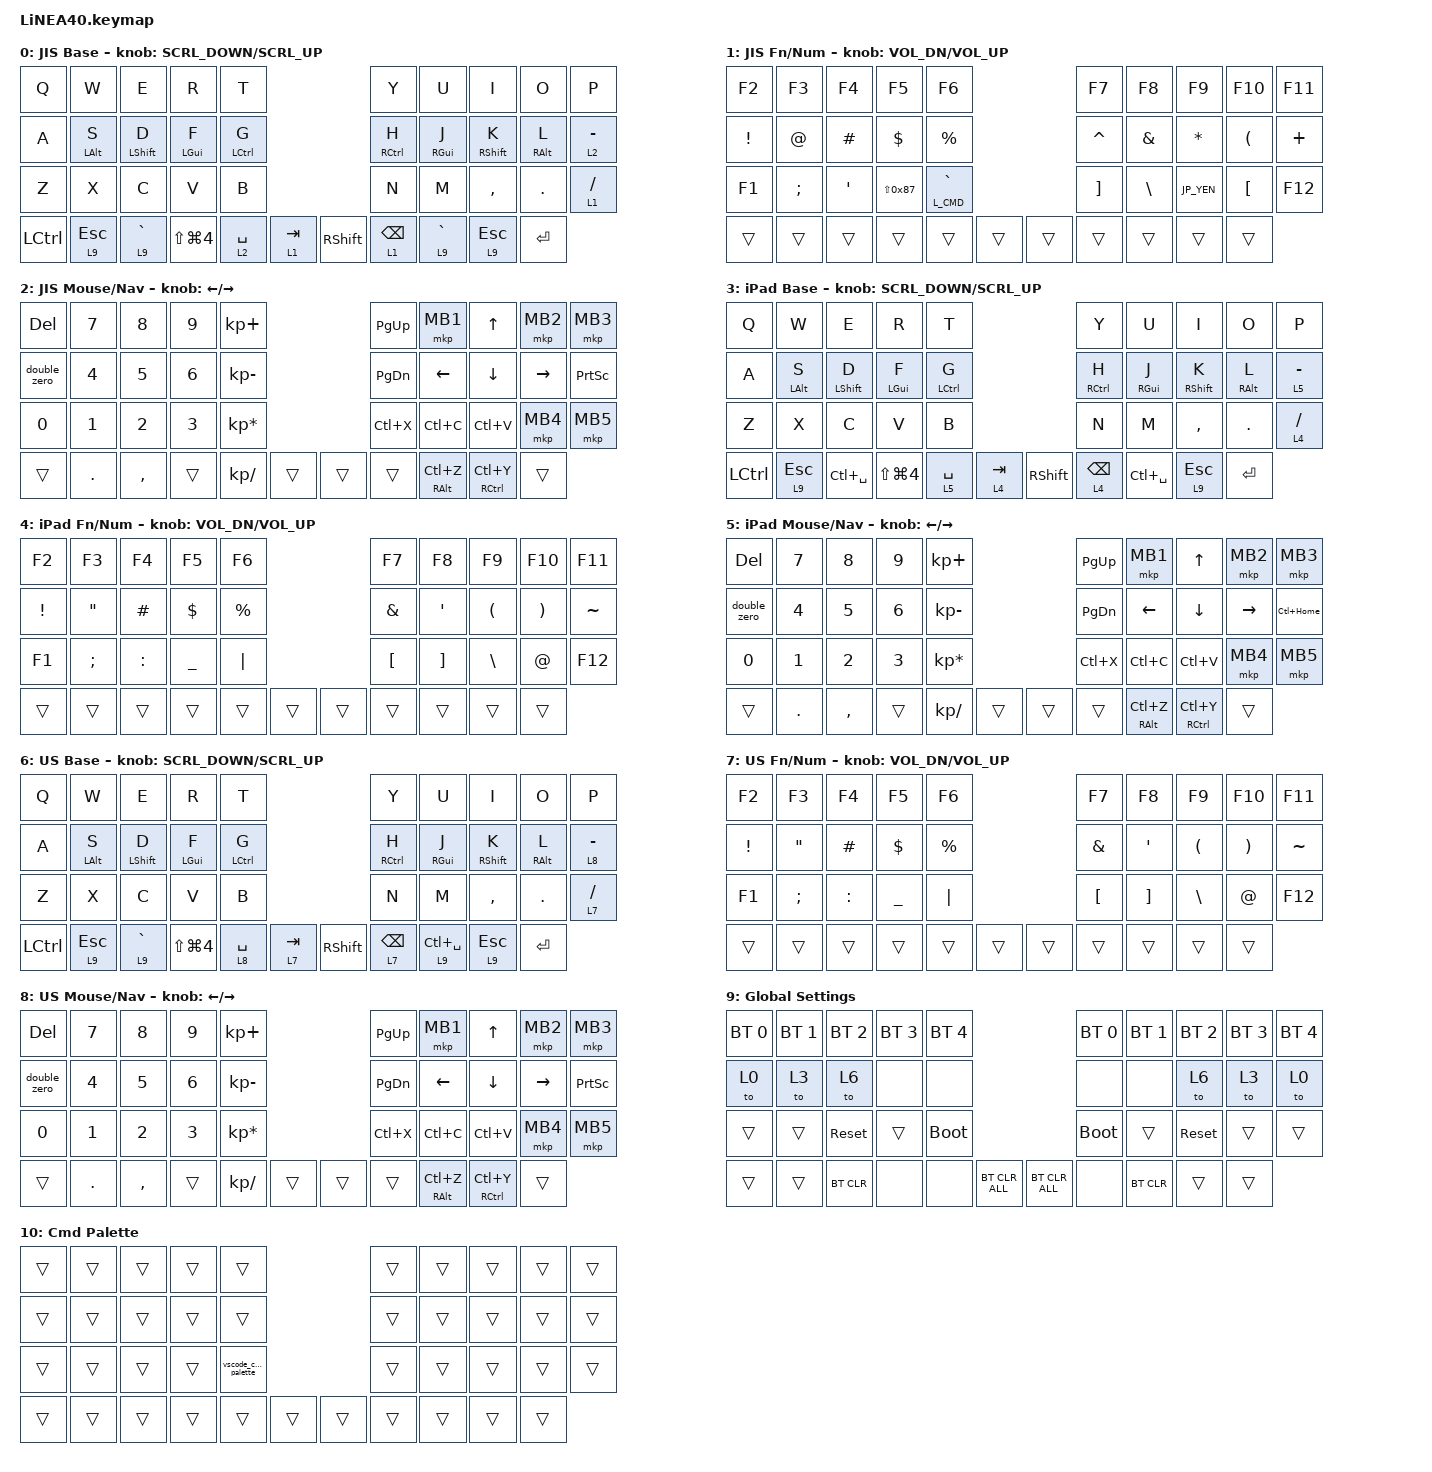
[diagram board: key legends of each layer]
// LisM配列をLiNEA40に移植、トラックボール/エンコーダ/コンボ設定はLiNEA仕様を維持

#define ZMK_POINTING_DEFAULT_SCRL_VAL 100

#include <dt-bindings/zmk/mouse.h>
#include <behaviors.dtsi>
#include <dt-bindings/zmk/bt.h>
#include <dt-bindings/zmk/keys.h>
#include <dt-bindings/zmk/input_transform.h>
#include <input/processors.dtsi>
#include <zephyr/dt-bindings/input/input-event-codes.h>
#include <dt-bindings/zmk/pointing.h>

// レイヤー番号（0-2 JIS / 3-5 iPad / 6-8 US）
#define L_JIS_BASE 0
#define L_JIS_FN 1
#define L_JIS_MOUSE 2
#define L_IPAD_BASE 3
#define L_IPAD_FN 4
#define L_IPAD_MOUSE 5
#define L_US_BASE 6
#define L_US_FN 7
#define L_US_MOUSE 8
#define L_GLOBAL 9
#define L_CMD 10

// JIS配列用キーコード定義
#define JP_DQUOTE       AT
#define JP_AMPERSAND    CARET
#define JP_QUOTE        AMPERSAND
#define JP_EQUAL        UNDERSCORE
#define JP_CARET        EQUAL
#define JP_YEN          0x89
#define JP_PLUS         COLON
#define JP_TILDE        PLUS
#define JP_PIPE         LS(0x89)
#define JP_AT           LEFT_BRACKET
#define JP_COLON        SINGLE_QUOTE
#define JP_ASTERISK     DOUBLE_QUOTES
#define JP_BACKQUOTE    LEFT_BRACE
#define JP_UNDERSCORE   LS(0x87)
#define JP_LBRACKET     RIGHT_BRACKET
#define JP_RBRACKET     BSLH
#define JP_LPAREN       ASTERISK
#define JP_RPAREN       LEFT_PARENTHESIS
#define JP_LBRACE       RIGHT_BRACE
#define JP_RBRACE       PIPE
#define JP_KANA         LANGUAGE_1
#define JP_EISU         LANGUAGE_2
#define JP_HANZEN       GRAVE

// Mod-Tap/Layer-Tap の設定
&mt {
    tapping-term-ms = <300>;
    flavor = "balanced";
};

&lt { quick-tap-ms = <300>; };

// マウスカーソル
&mmv {
    delay-ms = <20>;
    trigger-period-ms = <5>;
    time-to-max-speed-ms = <100>;
    acceleration-exponent = <2>;
};

// マウススクロール
&msc {
    delay-ms = <3>;
    trigger-period-ms = <3>;
    time-to-max-speed-ms = <100>;
    acceleration-exponent = <0>;
};

/ {
    input_processors {
        zip_wheel_scaler: zip_wheel_scaler {
            compatible = "zmk,input-processor-scaler";
            #input-processor-cells = <2>;
            type = <INPUT_EV_REL>;
            codes = <INPUT_REL_WHEEL>;
            track-remainders;
        };
    };

    macros {
        emoji: emoji_macro {
            compatible = "zmk,behavior-macro";
            label = "EMOJI";
            #binding-cells = <0>;
            bindings =
                <&macro_press>,
                <&kp CAPSLOCK>,
                <&macro_tap>,
                <&kp E>,
                <&macro_release>,
                <&kp CAPSLOCK>;
        };

        double_zero: double_zero_macro {
            compatible = "zmk,behavior-macro";
            label = "DBL_0";
            #binding-cells = <0>;
            bindings =
                <&macro_press>,
                <&kp NUMBER_0>,
                <&macro_release>,
                <&kp NUMBER_0>,
                <&macro_press>,
                <&kp NUMBER_0>,
                <&macro_release>,
                <&kp NUMBER_0>;
        };

        vscode_cmd_palette: vscode_cmd_palette_macro {
            compatible = "zmk,behavior-macro";
            label = "VS_CODE_CMD_PALETTE";
            #binding-cells = <0>;
            bindings =
                <&macro_press &mo LCTRL>,
                <&macro_press &mo LSHIFT>,
                <&macro_tap &kp P>,
                <&macro_release &mo LSHIFT>,
                <&macro_release &mo LCTRL>;
        };
    };

    combos {
        compatible = "zmk,combos";

        ZenkakuHankaku {
            bindings = <&kp GRAVE>;
            key-positions = <11 12>;
        };

        DeleteKey {
            bindings = <&kp DEL>;
            key-positions = <7 8>;
        };

        InsertKey {
            bindings = <&kp INS>;
            key-positions = <6 7>;
        };

        CenterClick {
            bindings = <&mkp MB3>;
            key-positions = <17 16>;
        };

        RightClick {
            bindings = <&mkp MB2>;
            key-positions = <18 17>;
        };

        PrevClick {
            bindings = <&mkp MB4>;
            key-positions = <27 28>;
        };

        ClickNext {
            bindings = <&mkp MB5>;
            key-positions = <26 27>;
        };
    };
};

&msc_input_listener {
    speed_up {
        layers = <1 4 7>;
        // スクロールを1/2倍（細かく）にする
        input-processors = <&zip_wheel_scaler 1 2>;
    };
};

&trackball_listener {
    scroller {
        // すべてのレイヤーでスクロール変換を有効化（反転を確実に適用）
        layers = <1 4 7>;
        // スクロール時のみX方向を反転、Yは通常
        input-processors =
            <&zip_xy_transform (INPUT_TRANSFORM_X_INVERT | INPUT_TRANSFORM_Y_INVERT)>,
            <&zip_xy_to_scroll_mapper>;
    };
};

/ {
    behaviors {
        re_kp_beh: re_kp_beh {
            compatible = "zmk,behavior-sensor-rotate-var";
            #sensor-binding-cells = <2>;
            bindings = <&kp>, <&kp>;
        };

        mouse_scrl: mouse_wheel_scrl {
            compatible = "zmk,behavior-sensor-rotate-var";
            #sensor-binding-cells = <2>;
            bindings = <&msc>, <&msc>;
            tap-ms = <20>;
        };

        encoder_msc: encoder_msc_beh {
            compatible = "zmk,behavior-sensor-rotate-var";
            #sensor-binding-cells = <2>;
            bindings = <&msc>, <&msc>;
            tap-ms = <20>;
        };

        encoder_kp_beh: encoder_kp_beh {
            compatible = "zmk,behavior-sensor-rotate-var";
            #sensor-binding-cells = <2>;
            bindings = <&kp>, <&kp>;
        };
    };

    keymap {
        compatible = "zmk,keymap";

        // L0: JIS Base (default)
        default_layer {
            display-name = "JIS Base";
            bindings = <
&kp Q      &kp W       &kp E            &kp R           &kp T                                      &kp Y            &kp U           &kp I            &kp O       &kp P
&kp A      &mt LALT S  &mt LSHIFT D     &mt LGUI F      &mt LCTRL G                                &mt RCTRL H      &mt RGUI J      &mt RSHIFT K     &mt RALT L  &lt 2 MINUS
&kp Z      &kp X       &kp C            &kp V           &kp B                                      &kp N            &kp M           &kp COMMA        &kp DOT     &lt 1 SLASH
&kp LCTRL  &lt 9 ESC   &lt 9 JP_HANZEN  &kp LS(LG(N4))  &lt 2 SPACE  &lt 1 TAB    &kp RIGHT_SHIFT  &lt 1 BACKSPACE                  &lt 9 JP_HANZEN  &lt 9 ESC   &kp ENTER
            >;
            sensor-bindings = <&encoder_msc SCRL_DOWN SCRL_UP>;
        };

        // L1: JIS Fn/Num
        layer_1 {
            display-name = "JIS Fn/Num";
            bindings = <
&kp F2    &kp F3         &kp F4        &kp F5             &kp F6                         &kp F7            &kp F8           &kp F9         &kp F10        &kp F11
&kp EXCL  &kp JP_DQUOTE  &kp HASH      &kp DOLLAR         &kp PERCENT                    &kp JP_AMPERSAND  &kp JP_QUOTE     &kp JP_LPAREN  &kp JP_RPAREN  &kp JP_TILDE
&kp F1    &kp SEMI       &kp JP_COLON  &kp JP_UNDERSCORE  &lt L_CMD GRAVE                &kp JP_LBRACKET   &kp JP_RBRACKET  &kp JP_YEN     &kp JP_AT      &kp F12
&trans    &trans         &trans        &trans             &trans     &trans      &trans  &trans                             &trans         &trans         &trans
            >;
            sensor-bindings = <&encoder_kp_beh C_VOL_DN C_VOL_UP>;
        };

        // L2: JIS Mouse/Nav
        layer_2 {
            display-name = "JIS Mouse/Nav";
            bindings = <
&kp DEL       &kp NUMBER_7  &kp NUMBER_8  &kp NUMBER_9  &kp KP_PLUS                        &kp PG_UP  &mkp MB1   &kp UP          &mkp MB2         &mkp MB3
&double_zero  &kp NUMBER_4  &kp NUMBER_5  &kp NUMBER_6  &kp KP_MINUS                       &kp PG_DN  &kp LEFT   &kp DOWN        &kp RIGHT        &kp PRINTSCREEN
&kp NUMBER_0  &kp NUMBER_1  &kp NUMBER_2  &kp NUMBER_3  &kp KP_MULTIPLY                    &kp LC(X)  &kp LC(C)  &kp LC(V)       &mkp MB4         &mkp MB5
&trans        &kp DOT       &kp COMMA     &trans        &kp KP_DIVIDE    &trans    &trans  &trans                &mt RALT LC(Z)  &mt RCTRL LC(Y)  &trans
            >;
            sensor-bindings = <&encoder_kp_beh LEFT_ARROW RIGHT_ARROW>;
        };

        // L3: iPad Base
        layer_3 {
            display-name = "iPad Base";
            bindings = <
&kp Q      &kp W       &kp E          &kp R           &kp T                                      &kp Y            &kp U       &kp I          &kp O       &kp P
&kp A      &mt LALT S  &mt LSHIFT D   &mt LGUI F      &mt LCTRL G                                &mt RCTRL H      &mt RGUI J  &mt RSHIFT K   &mt RALT L  &lt 5 MINUS
&kp Z      &kp X       &kp C          &kp V           &kp B                                      &kp N            &kp M       &kp COMMA      &kp DOT     &lt 4 SLASH
&kp LCTRL  &lt 9 ESC   &kp LC(SPACE)  &kp LS(LG(N4))  &lt 5 SPACE  &lt 4 TAB    &kp RIGHT_SHIFT  &lt 4 BACKSPACE              &kp LC(SPACE)  &lt 9 ESC   &kp ENTER
            >;
            sensor-bindings = <&encoder_msc SCRL_DOWN SCRL_UP>;
        };

        // L4: iPad Fn/Num
        layer_4 {
            display-name = "iPad Fn/Num";
            bindings = <
&kp F2    &kp F3             &kp F4     &kp F5          &kp F6                         &kp F7            &kp F8             &kp F9                &kp F10                &kp F11
&kp EXCL  &kp DOUBLE_QUOTES  &kp HASH   &kp DOLLAR      &kp PERCENT                    &kp AMPERSAND     &kp SINGLE_QUOTE   &kp LEFT_PARENTHESIS  &kp RIGHT_PARENTHESIS  &kp TILDE
&kp F1    &kp SEMI           &kp COLON  &kp UNDERSCORE  &kp PIPE                       &kp LEFT_BRACKET  &kp RIGHT_BRACKET  &kp BSLH              &kp AT_SIGN            &kp F12
&trans    &trans             &trans     &trans          &trans       &trans    &trans  &trans                               &trans                &trans                 &trans
            >;
            sensor-bindings = <&encoder_kp_beh C_VOL_DN C_VOL_UP>;
        };

        // L5: iPad Mouse/Nav
        layer_5 {
            display-name = "iPad Mouse/Nav";
            bindings = <
&kp DEL       &kp NUMBER_7  &kp NUMBER_8  &kp NUMBER_9  &kp KP_PLUS                        &kp PG_UP  &mkp MB1   &kp UP          &mkp MB2         &mkp MB3
&double_zero  &kp NUMBER_4  &kp NUMBER_5  &kp NUMBER_6  &kp KP_MINUS                       &kp PG_DN  &kp LEFT   &kp DOWN        &kp RIGHT        &kp LC(HOME)
&kp NUMBER_0  &kp NUMBER_1  &kp NUMBER_2  &kp NUMBER_3  &kp KP_MULTIPLY                    &kp LC(X)  &kp LC(C)  &kp LC(V)       &mkp MB4         &mkp MB5
&trans        &kp DOT       &kp COMMA     &trans        &kp KP_DIVIDE    &trans    &trans  &trans                &mt RALT LC(Z)  &mt RCTRL LC(Y)  &trans
            >;
            sensor-bindings = <&encoder_kp_beh LEFT_ARROW RIGHT_ARROW>;
        };

        // L6: US Base
        layer_6 {
            display-name = "US Base";
            bindings = <
&kp Q      &kp W       &kp E         &kp R           &kp T                                      &kp Y            &kp U           &kp I            &kp O       &kp P
&kp A      &mt LALT S  &mt LSHIFT D  &mt LGUI F      &mt LCTRL G                                &mt RCTRL H      &mt RGUI J      &mt RSHIFT K     &mt RALT L  &lt 8 MINUS
&kp Z      &kp X       &kp C         &kp V           &kp B                                      &kp N            &kp M           &kp COMMA        &kp DOT     &lt 7 SLASH
&kp LCTRL  &lt 9 ESC   &lt 9 GRAVE   &kp LS(LG(N4))  &lt 8 SPACE  &lt 7 TAB    &kp RIGHT_SHIFT  &lt 7 BACKSPACE                  &lt 9 LC(SPACE)  &lt 9 ESC   &kp ENTER
            >;
            sensor-bindings = <&encoder_msc SCRL_DOWN SCRL_UP>;
        };

        // L7: US Fn/Num
        layer_7 {
            display-name = "US Fn/Num";
            bindings = <
&kp F2    &kp F3             &kp F4     &kp F5          &kp F6                         &kp F7            &kp F8             &kp F9                &kp F10                &kp F11
&kp EXCL  &kp DOUBLE_QUOTES  &kp HASH   &kp DOLLAR      &kp PERCENT                    &kp AMPERSAND     &kp SINGLE_QUOTE   &kp LEFT_PARENTHESIS  &kp RIGHT_PARENTHESIS  &kp TILDE
&kp F1    &kp SEMI           &kp COLON  &kp UNDERSCORE  &kp PIPE                       &kp LEFT_BRACKET  &kp RIGHT_BRACKET  &kp BSLH              &kp AT_SIGN            &kp F12
&trans    &trans             &trans     &trans          &trans       &trans    &trans  &trans                               &trans                &trans                 &trans
            >;
            sensor-bindings = <&encoder_kp_beh C_VOL_DN C_VOL_UP>;
        };

        // L8: US Mouse/Nav
        layer_8 {
            display-name = "US Mouse/Nav";
            bindings = <
&kp DEL       &kp NUMBER_7  &kp NUMBER_8  &kp NUMBER_9  &kp KP_PLUS                        &kp PG_UP  &mkp MB1   &kp UP          &mkp MB2         &mkp MB3
&double_zero  &kp NUMBER_4  &kp NUMBER_5  &kp NUMBER_6  &kp KP_MINUS                       &kp PG_DN  &kp LEFT   &kp DOWN        &kp RIGHT        &kp PRINTSCREEN
&kp NUMBER_0  &kp NUMBER_1  &kp NUMBER_2  &kp NUMBER_3  &kp KP_MULTIPLY                    &kp LC(X)  &kp LC(C)  &kp LC(V)       &mkp MB4         &mkp MB5
&trans        &kp DOT       &kp COMMA     &trans        &kp KP_DIVIDE    &trans    &trans  &trans                &mt RALT LC(Z)  &mt RCTRL LC(Y)  &trans
            >;
            sensor-bindings = <&encoder_kp_beh LEFT_ARROW RIGHT_ARROW>;
        };

        // L9: Global Settings
        layer_9 {
            display-name = "Global Settings";
            bindings = <
&bt BT_SEL 0  &bt BT_SEL 1  &bt BT_SEL 2  &bt BT_SEL 3  &bt BT_SEL 4                                    &bt BT_SEL 0  &bt BT_SEL 1  &bt BT_SEL 2  &bt BT_SEL 3  &bt BT_SEL 4
&to 0         &to 3         &to 6         &none         &none                                           &none         &none         &to 6         &to 3         &to 0
&trans        &trans        &sys_reset    &trans        &bootloader                                     &bootloader   &trans        &sys_reset    &trans        &trans
&trans        &trans        &bt BT_CLR    &none         &none         &bt BT_CLR_ALL    &bt BT_CLR_ALL  &none                       &bt BT_CLR    &trans        &trans
            >;
        };

        // L10: Cmd Palette
        layer_10 {
            display-name = "Cmd Palette";
            bindings = <
&trans    &trans    &trans    &trans    &trans                          &trans    &trans     &trans    &trans    &trans
&trans    &trans    &trans    &trans    &trans                          &trans    &trans     &trans    &trans    &trans
&trans    &trans    &trans    &trans    &vscode_cmd_palette             &trans    &trans     &trans    &trans    &trans
&trans    &trans    &trans    &trans    &trans    &trans      &trans    &trans               &trans    &trans    &trans
            >;
        };
    };
};
